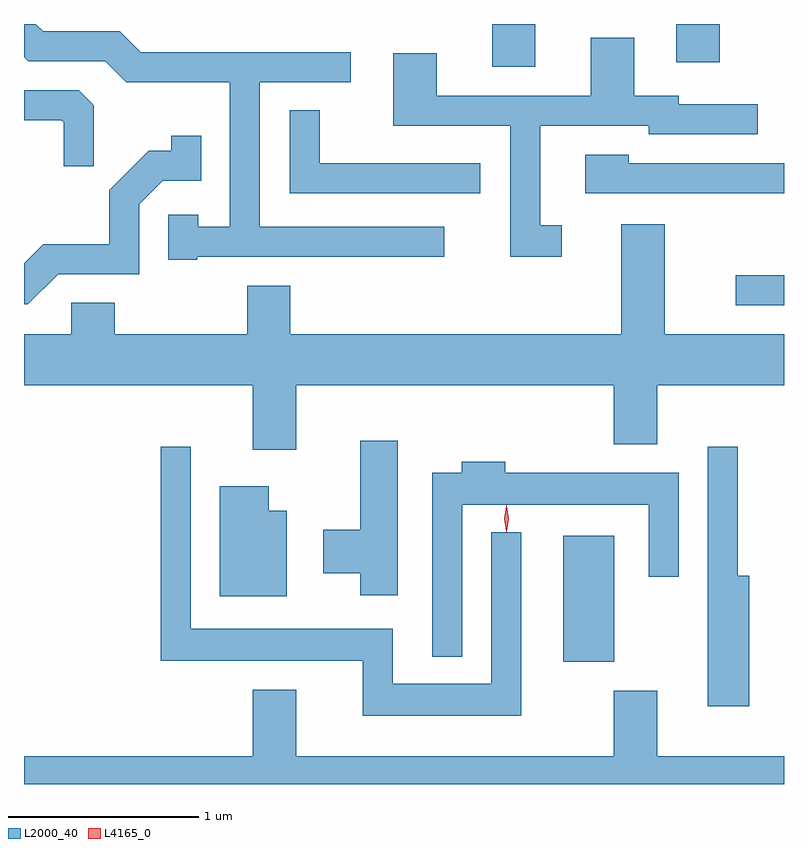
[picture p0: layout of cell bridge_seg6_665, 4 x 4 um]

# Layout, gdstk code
import gdstk
lib = gdstk.Library(unit=1e-6, precision=1e-09)
def R(c, l, rs):  # rectangles x0, y0, x1, y1
    for r in rs: c.add(gdstk.rectangle(r[:2], r[2:], *l))
def P(c, l, *ps):  # polygons
    for p in ps: c.add(gdstk.Polygon(p, *l))
L2000_40 = (2000, 40)
L4165_0 = (4165, 0)

bridge_seg6_665 = lib.new_cell('bridge_seg6_665')
R(bridge_seg6_665, L2000_40, [(310.346,1586.321,310.614,1586.984), (311.253,1588.196,311.507,1588.354), (309.971,1589.451,310.199,1589.677), (310.941,1589.476,311.169,1589.677)])
P(bridge_seg6_665, L2000_40, [(308.42,1588.451),(309.718,1588.451),(309.718,1588.609),(308.749,1588.609),(308.749,1589.371),(309.228,1589.371),(309.228,1589.529),(308.122,1589.529),(308.012,1589.639),(307.607,1589.639),(307.569,1589.677),(307.507,1589.677),(307.507,1589.503),(307.529,1589.481),(307.934,1589.481),(308.044,1589.371),(308.591,1589.371),(308.591,1588.609),(308.424,1588.609),(308.424,1588.673),(308.266,1588.673),(308.266,1588.436),(308.42,1588.436)],
  [(310.338,1588.619),(310.224,1588.619),(310.224,1589.141),(310.796,1589.141),(310.796,1589.096),(311.368,1589.096),(311.368,1589.254),(310.954,1589.254),(310.954,1589.299),(310.719,1589.299),(310.719,1589.604),(310.491,1589.604),(310.491,1589.299),(309.679,1589.299),(309.679,1589.524),(309.451,1589.524),(309.451,1589.141),(310.066,1589.141),(310.066,1588.451),(310.338,1588.451)],
  [(307.874,1589.249),(307.794,1589.329),(307.507,1589.329),(307.507,1589.171),(307.704,1589.171),(307.716,1589.159),(307.716,1588.928),(307.874,1588.928)],
  [(309.908,1588.944),(309.064,1588.944),(309.064,1589.223),(308.906,1589.223),(308.906,1588.786),(309.908,1588.786)],
  [(307.687,1588.361),(308.114,1588.361),(308.114,1588.729),(308.237,1588.851),(308.439,1588.851),(308.439,1589.088),(308.281,1589.088),(308.281,1589.009),(308.164,1589.009),(307.956,1588.802),(307.956,1588.519),(307.609,1588.519),(307.507,1588.417),(307.507,1588.201),(307.527,1588.201)],
  [(311.507,1588.944),(310.689,1588.944),(310.689,1588.989),(310.461,1588.989),(310.461,1588.786),(311.507,1588.786)],
  [(308.939,1587.776),(310.611,1587.776),(310.611,1587.466),(310.839,1587.466),(310.839,1587.776),(311.507,1587.776),(311.507,1588.044),(310.879,1588.044),(310.879,1588.624),(310.651,1588.624),(310.651,1588.044),(308.909,1588.044),(308.909,1588.299),(308.681,1588.299),(308.681,1588.044),(307.984,1588.044),(307.984,1588.209),(307.756,1588.209),(307.756,1588.044),(307.507,1588.044),(307.507,1587.776),(308.711,1587.776),(308.711,1587.436),(308.939,1587.436)],
  [(309.474,1587.484),(309.276,1587.484),(309.276,1587.014),(309.081,1587.014),(309.081,1586.786),(309.276,1586.786),(309.276,1586.671),(309.474,1586.671)],
  [(311.324,1586.774),(311.264,1586.774),(311.264,1587.453),(311.106,1587.453),(311.106,1586.086),(311.324,1586.086)],
  [(310.124,1587.003),(309.966,1587.003),(309.966,1586.204),(309.449,1586.204),(309.449,1586.494),(308.384,1586.494),(308.384,1587.453),(308.226,1587.453),(308.226,1586.326),(309.291,1586.326),(309.291,1586.036),(310.124,1586.036)],
  [(309.814,1587.146),(310.796,1587.146),(310.796,1586.768),(310.954,1586.768),(310.954,1587.314),(310.039,1587.314),(310.039,1587.374),(309.811,1587.374),(309.811,1587.314),(309.656,1587.314),(309.656,1586.348),(309.814,1586.348)],
  [(308.889,1587.114),(308.794,1587.114),(308.794,1587.244),(308.536,1587.244),(308.536,1586.666),(308.889,1586.666)],
  [(311.507,1585.824),(310.839,1585.824),(310.839,1586.169),(310.611,1586.169),(310.611,1585.824),(308.939,1585.824),(308.939,1586.174),(308.711,1586.174),(308.711,1585.824),(307.507,1585.824),(307.507,1585.677),(311.507,1585.677)])
P(bridge_seg6_665, L4165_0, [(310.047,1587.003),(310.046,1587.004),(310.037,1587.073),(310.046,1587.142),(310.047,1587.143),(310.048,1587.142),(310.057,1587.073),(310.048,1587.004)],
  [(310.044,1587.007),(310.035,1587.074),(310.044,1587.14),(310.045,1587.141),(310.045,1587.14),(310.055,1587.074),(310.045,1587.007),(310.045,1587.007)])

lib.write_gds('bridge_seg6_665.gds')
